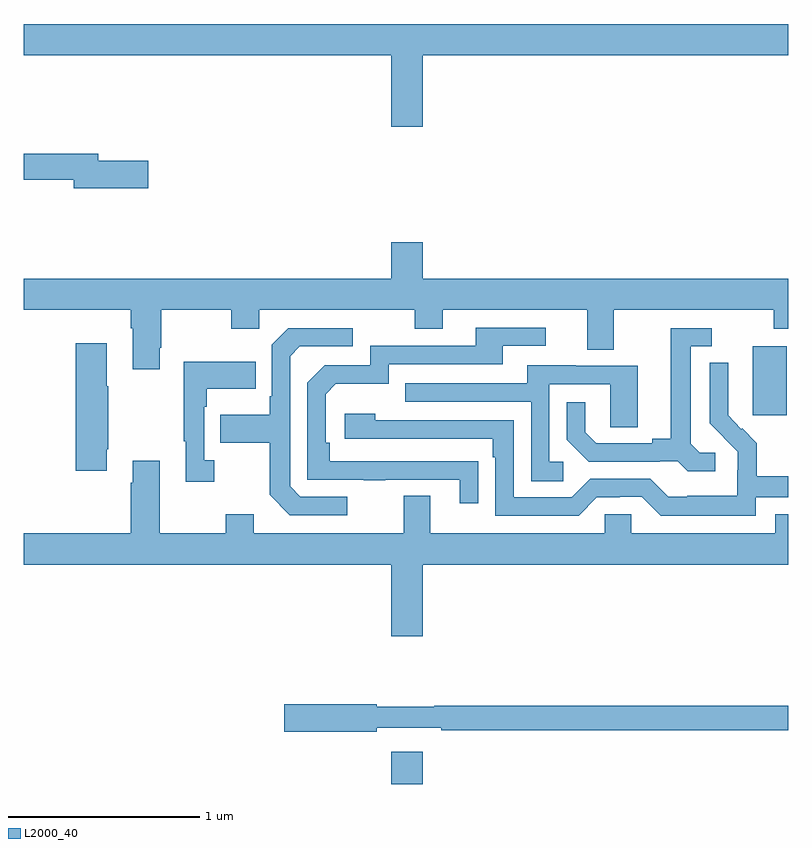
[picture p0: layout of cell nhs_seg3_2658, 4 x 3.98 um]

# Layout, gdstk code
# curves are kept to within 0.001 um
import gdstk
lib = gdstk.Library(unit=1e-6, precision=1e-09)
def R(c, l, rs):  # rectangles x0, y0, x1, y1
    for r in rs: c.add(gdstk.rectangle(r[:2], r[2:], *l))
def P(c, l, *ps):  # polygons
    for p in ps: c.add(gdstk.Polygon(p, *l))
L2000_40 = (2000, 40)

nhs_seg3_2658 = lib.new_cell('nhs_seg3_2658')
R(nhs_seg3_2658, L2000_40, [(248.924,734.4,249.088,734.569), (250.814,736.329,250.993,736.69)])
P(nhs_seg3_2658, L2000_40, [(249.088,738.212),(251,738.212),(251,738.376),(247,738.376),(247,738.212),(248.924,738.212),(248.924,737.838),(249.088,737.838)],
  [(247.651,737.66),(247.39,737.66),(247.39,737.696),(247,737.696),(247,737.56),(247.262,737.56),(247.262,737.518),(247.651,737.518)],
  [(249.088,737.233),(248.924,737.233),(248.924,737.044),(247,737.044),(247,736.88),(247.559,736.88),(247.559,736.784),(247.571,736.784),(247.571,736.569),(247.711,736.569),(247.711,736.681),(247.719,736.681),(247.719,736.88),(248.086,736.88),(248.086,736.781),(248.232,736.781),(248.232,736.88),(249.046,736.88),(249.046,736.781),(249.193,736.781),(249.193,736.88),(249.947,736.88),(249.947,736.672),(250.087,736.672),(250.087,736.88),(250.924,736.88),(250.924,736.781),(251,736.781),(251,737.044),(249.088,737.044)],
  [(249.377,736.088),(248.6,736.089),(248.6,736.186),(248.58,736.186),(248.58,736.44),(248.633,736.493),(248.91,736.493),(248.91,736.596),(249.505,736.596),(249.505,736.692),(249.73,736.692),(249.73,736.788),(249.365,736.788),(249.365,736.692),(248.814,736.692),(248.814,736.59),(248.574,736.59),(248.484,736.5),(248.484,735.993),(248.779,735.993),(248.779,735.988),(248.891,735.988),(248.891,735.993),(249.281,735.993),(249.281,735.87),(249.377,735.87)],
  [(250.618,736.134),(250.536,736.134),(250.489,736.181),(250.489,736.689),(250.6,736.689),(250.6,736.785),(250.385,736.785),(250.385,736.205),(250.289,736.205),(250.289,736.182),(249.994,736.182),(249.937,736.239),(249.937,736.396),(249.84,736.396),(249.84,736.202),(249.956,736.086),(250.328,736.086),(250.328,736.089),(250.422,736.089),(250.474,736.037),(250.618,736.037)],
  [(248.692,735.903),(248.448,735.903),(248.394,735.957),(248.394,736.638),(248.445,736.689),(248.722,736.689),(248.722,736.785),(248.385,736.785),(248.298,736.698),(248.298,736.429),(248.286,736.429),(248.286,736.333),(248.029,736.333),(248.029,736.186),(248.286,736.186),(248.286,735.913),(248.391,735.807),(248.692,735.807)],
  [(247.435,736.15),(247.443,736.15),(247.443,736.481),(247.435,736.481),(247.435,736.705),(247.273,736.705),(247.273,736.038),(247.435,736.038)],
  [(247.996,736.094),(247.944,736.094),(247.944,736.373),(247.957,736.373),(247.957,736.469),(248.213,736.469),(248.213,736.609),(247.836,736.609),(247.836,736.193),(247.847,736.193),(247.847,735.981),(247.996,735.981)],
  [(250.83,735.9),(251,735.9),(251,736.009),(250.835,736.009),(250.835,736.183),(250.758,736.26),(250.755,736.257),(250.685,736.328),(250.686,736.604),(250.59,736.604),(250.59,736.286),(250.736,736.138),(250.736,736.041),(250.734,736.041),(250.734,735.907),(250.471,735.907),(250.471,735.903),(250.371,735.903),(250.278,735.996),(249.963,735.996),(249.867,735.9),(249.564,735.9),(249.564,736.302),(248.84,736.302),(248.84,736.336),(248.679,736.336),(248.679,736.206),(249.455,736.206),(249.455,736.109),(249.468,736.109),(249.468,735.804),(249.903,735.804),(249.999,735.9),(250.118,735.9),(250.118,735.903),(250.233,735.903),(250.333,735.803),(250.83,735.803)],
  [(249.823,736.086),(249.75,736.086),(249.75,736.491),(250.068,736.491),(250.068,736.267),(250.213,736.267),(250.213,736.587),(249.889,736.587),(249.889,736.591),(249.635,736.591),(249.635,736.497),(248.995,736.497),(248.995,736.401),(249.654,736.401),(249.654,735.985),(249.823,735.985)],
  [(249.088,735.548),(251,735.548),(251,735.811),(250.931,735.811),(250.931,735.712),(250.179,735.712),(250.179,735.81),(250.041,735.81),(250.041,735.712),(249.127,735.712),(249.127,735.907),(248.987,735.907),(248.987,735.712),(248.203,735.712),(248.203,735.811),(248.056,735.811),(248.056,735.712),(247.711,735.712),(247.711,736.09),(247.571,736.09),(247.571,735.977),(247.559,735.977),(247.559,735.712),(247,735.712),(247,735.548),(248.924,735.548),(248.924,735.174),(249.088,735.174)],
  [(248.848,734.694),(249.184,734.694),(249.184,734.682),(251,734.682),(251,734.81),(249.148,734.81),(249.148,734.803),(248.848,734.803),(248.848,734.816),(248.364,734.816),(248.364,734.674),(248.848,734.674)])

lib.write_gds('nhs_seg3_2658.gds')
